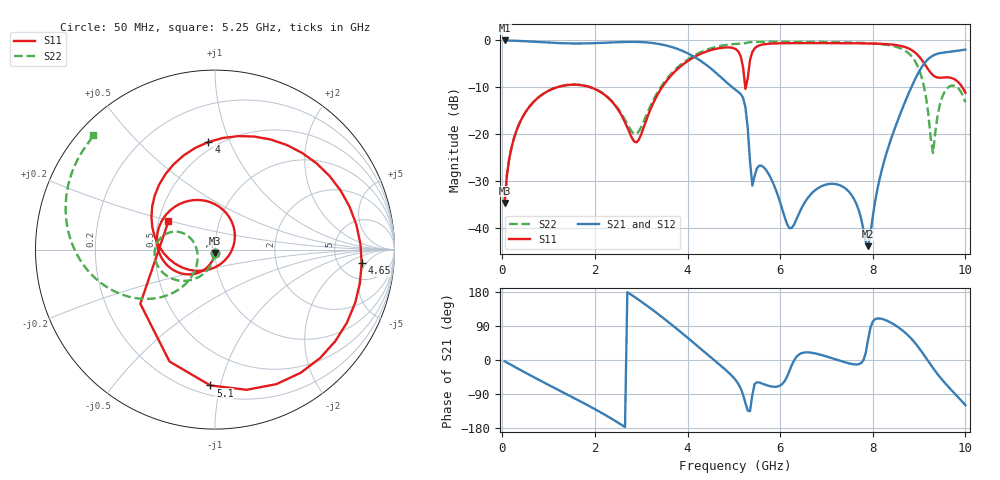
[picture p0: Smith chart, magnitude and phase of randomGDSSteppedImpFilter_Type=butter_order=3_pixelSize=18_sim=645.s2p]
! freq	dB(S11)	phase(S11)	dB(S12)	phase(S12)
!  dB(S21)	phase(S21)	dB(S22)	phase(S22)
!S-par simulation data
#  GHz  S  DB  R 50
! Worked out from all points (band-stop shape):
!   200 points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, 50 MHz to 10 GHz, reference 50 ohm
!   highest |S21| = -0.01 dB at 50 MHz (marker M1); lowest = -44.0 dB at 7.9 GHz (marker M2)
!   |S21| within 3 dB of the highest: start of sweep to 4.055 GHz; 9.351 GHz to end of sweep
!   lowest |S11| = -34.7 dB at 50 MHz (marker M3), VSWR 1.04, Z = 49.9 - j1.83 ohm
!   |S11| at or under -10 dB: start of sweep to 1.185 GHz; 1.896 GHz to 3.45 GHz (1.555 GHz wide, 58.2 % of centre); 9.933 GHz to end of sweep (the widest 3 of 4)
!   |S22| runs from -34.7 to -0.3 dB; largest |S21 - S12| = 0
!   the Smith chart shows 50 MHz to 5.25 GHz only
!   S11 on the Smith chart (normalised r, x): 50 MHz: 1.00, -0.04; 4 GHz: 0.45, +0.84; 4.65 GHz: 8.30, -3.90; 5.1 GHz: 0.26, -0.93; 5.25 GHz: 0.56, +0.19
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0.05  -34.70 -93.4  -0.01 -3.4  -0.01 -3.4  -34.69 -92.5
0.5  -15.35 -128.6  -0.18 -33.5  -0.18 -33.5  -15.34 -119.4
1.75  -9.64 136.1  -0.65 -113.2  -0.65 -113.2  -9.61 177.0
2.9  -21.78 -49.5  -0.32 162.7  -0.32 162.7  -19.94 -165.0
3.4  -10.78 -176.6  -0.79 118.0  -0.79 118.0  -10.32 -132.5
4  -4.43 93.5  -2.73 58.9  -2.73 58.9  -4.09 -159.4
4.65  -1.72 -5.4  -7.24 -8.0  -7.24 -8.0  -1.30 165.2
5.05  -1.93 -77.3  -10.66 -54.7  -10.66 -54.7  -0.74 144.9
5.1  -2.42 -92.0  -11.03 -63.7  -11.03 -63.7  -0.72 142.6
5.25  -10.36 148.9  -14.27 -113.3  -14.27 -113.3  -0.59 136.8
5.3  -8.03 49.0  -18.75 -133.7  -18.75 -133.7  -0.46 134.6
5.4  -2.45 -24.3  -31.02 -91.5  -31.02 -91.5  -0.33 129.4
5.8  -0.69 -98.1  -29.46 -69.6  -29.46 -69.6  -0.29 111.3
6.2  -0.58 -134.9  -40.12 -29.2  -40.12 -29.2  -0.30 94.6
6.7  -0.57 -171.4  -32.49 18.7  -32.49 18.7  -0.33 73.7
7.45  -0.60 140.3  -31.97 -7.7  -31.97 -7.7  -0.43 40.4
7.9  -0.65 111.9  -43.96 54.7  -43.96 54.7  -0.59 17.3
8.35  -0.83 81.6  -22.40 101.2  -22.40 101.2  -1.02 -11.3
8.85  -2.13 41.1  -9.63 53.9  -9.63 53.9  -3.53 -62.6
9.3  -7.43 20.6  -3.24 -21.0  -3.24 -21.0  -24.05 125.7
9.55  -7.91 24.0  -2.56 -59.6  -2.56 -59.6  -11.00 20.8
10  -11.17 8.2  -1.96 -119.0  -1.96 -119.0  -13.22 -33.9
